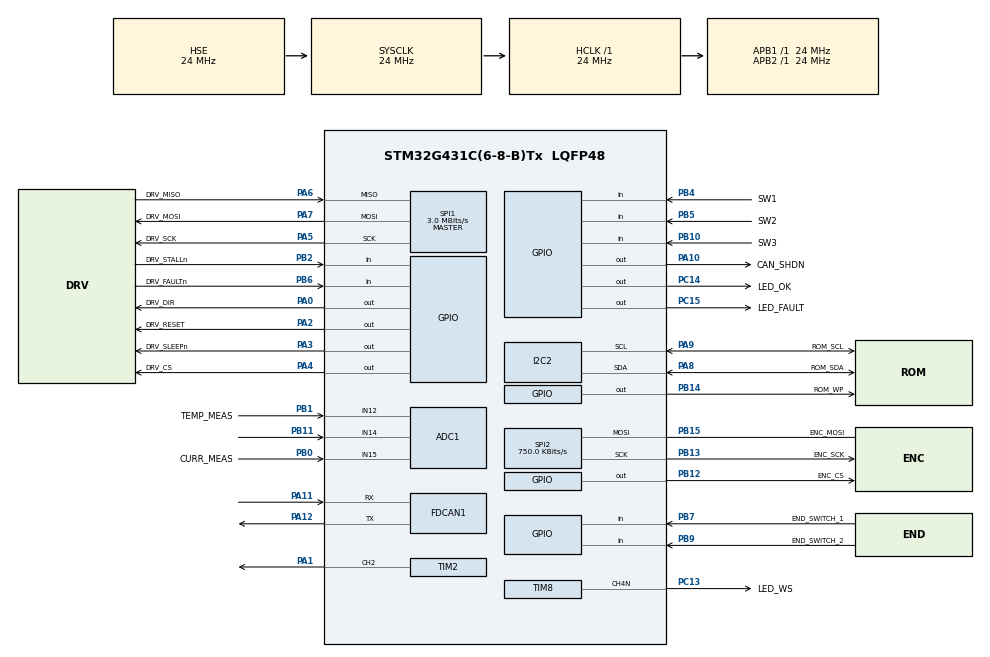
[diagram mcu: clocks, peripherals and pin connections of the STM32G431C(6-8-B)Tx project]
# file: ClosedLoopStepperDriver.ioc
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ADC1.Channel-0\#ChannelRegularConversion=ADC_CHANNEL_15
ADC1.ClockPrescaler=ADC_CLOCK_SYNC_PCLK_DIV4
ADC1.NbrOfConversionFlag=1
ADC1.OffsetNumber-0\#ChannelRegularConversion=ADC_OFFSET_NONE
ADC1.Rank-0\#ChannelRegularConversion=1
ADC1.SamplingTime-0\#ChannelRegularConversion=ADC_SAMPLETIME_2CYCLES_5
ADC1.master=1
Dma.Request0=TIM8_CH4
Dma.TIM8_CH4.0.Direction=DMA_MEMORY_TO_PERIPH
Dma.TIM8_CH4.0.EventEnable=DISABLE
Dma.TIM8_CH4.0.Instance=DMA1_Channel1
Dma.TIM8_CH4.0.MemDataAlignment=DMA_MDATAALIGN_BYTE
Dma.TIM8_CH4.0.MemInc=DMA_MINC_ENABLE
Dma.TIM8_CH4.0.Mode=DMA_NORMAL
Dma.TIM8_CH4.0.PeriphDataAlignment=DMA_PDATAALIGN_HALFWORD
Dma.TIM8_CH4.0.PeriphInc=DMA_PINC_DISABLE
Dma.TIM8_CH4.0.Polarity=HAL_DMAMUX_REQ_GEN_RISING
Dma.TIM8_CH4.0.Priority=DMA_PRIORITY_LOW
Dma.TIM8_CH4.0.RequestNumber=1
Dma.TIM8_CH4.0.SignalID=NONE
Dma.TIM8_CH4.0.SyncEnable=DISABLE
Dma.TIM8_CH4.0.SyncPolarity=HAL_DMAMUX_SYNC_NO_EVENT
Dma.TIM8_CH4.0.SyncRequestNumber=1
Dma.TIM8_CH4.0.SyncSignalID=NONE
FDCAN1.AutoRetransmission=ENABLE
FDCAN1.CalculateBaudRateNominal=500000
FDCAN1.CalculateTimeBitNominal=2000
FDCAN1.CalculateTimeQuantumNominal=41.666666666666664
FDCAN1.ClockDivider=FDCAN_CLOCK_DIV1
FDCAN1.DataSyncJumpWidth=1
FDCAN1.DataTimeSeg1=5
FDCAN1.DataTimeSeg2=4
FDCAN1.ExtFiltersNbr=1
FDCAN1.FrameFormat=FDCAN_FRAME_CLASSIC
FDCAN1.NominalPrescaler=1
FDCAN1.NominalSyncJumpWidth=12
FDCAN1.NominalTimeSeg1=35
FDCAN1.NominalTimeSeg2=12
FDCAN1.TransmitPause=ENABLE
FREERTOS.Tasks01=defaultTask,24,128,StartDefaultTask,Default,NULL,Dynamic,NULL,NULL;EncoderTask,40,128,StartEncoderTask,Default,NULL,Dynamic,NULL,NULL;StepperRegTask,16,128,StartStepperRegTask,Default,NULL,Dynamic,NULL,NULL;FeedbackTask,8,128,StartFeedbackTask,Default,NULL,Dynamic,NULL,NULL
FREERTOS.configUSE_NEWLIB_REENTRANT=1
I2C2.Timing=0x00805C87
Mcu.Family=STM32G4
Mcu.Name=STM32G431C(6-8-B)Tx
Mcu.Package=LQFP48
NVIC.DMA1_Channel1_IRQn=true\:5\:0\:false\:false\:true\:true\:false\:true\:true
NVIC.FDCAN1_IT0_IRQn=true\:5\:0\:false\:false\:true\:true\:true\:true\:true
NVIC.PriorityGroup=NVIC_PRIORITYGROUP_4
NVIC.TIM1_UP_TIM16_IRQn=true\:5\:0\:false\:false\:true\:false\:false\:true\:true
NVIC.TIM6_DAC_IRQn=true\:15\:0\:true\:false\:true\:true\:true\:true\:true
NVIC.TimeBase=TIM1_UP_TIM16_IRQn
NVIC.TimeBaseIP=TIM1
PA0.GPIO_Label=DRV_DIR
PA0.Signal=GPIO_Output
PA1.Signal=S_TIM2_CH2
PA10.GPIO_Label=CAN_SHDN
PA10.Signal=GPIO_Output
PA11.GPIO_Speed=GPIO_SPEED_FREQ_VERY_HIGH
PA11.Mode=FDCAN_Activate
PA11.Signal=FDCAN1_RX
PA12.GPIO_Speed=GPIO_SPEED_FREQ_VERY_HIGH
PA12.Mode=FDCAN_Activate
PA12.Signal=FDCAN1_TX
PA13.Mode=JTAG_4_pins
PA13.Signal=SYS_JTMS-SWDIO
PA14.Mode=JTAG_4_pins
PA14.Signal=SYS_JTCK-SWCLK
PA15.Mode=JTAG_4_pins
PA15.Signal=SYS_JTDI
PA2.GPIO_Label=DRV_RESET
PA2.Signal=GPIO_Output
PA3.GPIO_Label=DRV_SLEEPn
PA3.Signal=GPIO_Output
PA4.GPIO_Label=DRV_CS
PA4.Signal=GPIO_Output
PA5.GPIO_Label=DRV_SCK
PA5.Mode=Full_Duplex_Master
PA5.Signal=SPI1_SCK
PA6.GPIO_Label=DRV_MISO
PA6.Mode=Full_Duplex_Master
PA6.Signal=SPI1_MISO
PA7.GPIO_Label=DRV_MOSI
PA7.Mode=Full_Duplex_Master
PA7.Signal=SPI1_MOSI
PA8.GPIO_Label=ROM_SDA
PA8.GPIO_Pu=GPIO_PULLUP
PA8.Mode=I2C
PA8.Signal=I2C2_SDA
PA9.GPIO_Label=ROM_SCL
PA9.GPIO_Pu=GPIO_PULLUP
PA9.Mode=I2C
PA9.Signal=I2C2_SCL
PB0.GPIO_Label=CURR_MEAS
PB0.Mode=IN15-Single-Ended
PB0.Signal=ADC1_IN15
PB1.GPIO_Label=TEMP_MEAS
PB1.Mode=IN12-Single-Ended
PB1.Signal=ADC1_IN12
PB10.GPIO_Label=SW3
PB10.GPIO_PuPd=GPIO_PULLUP
PB10.Signal=GPIO_Input
PB11.Mode=IN14-Single-Ended
PB11.Signal=ADC1_IN14
PB12.GPIO_Label=ENC_CS
PB12.Signal=GPIO_Output
PB13.GPIO_Label=ENC_SCK
PB13.Mode=Simplex_Bidirectional_Master
PB13.Signal=SPI2_SCK
PB14.GPIO_Label=ROM_WP
PB14.GPIO_Speed=GPIO_SPEED_FREQ_MEDIUM
PB14.PinState=GPIO_PIN_SET
PB14.Signal=GPIO_Output
PB15.GPIO_Label=ENC_MOSI
PB15.Mode=Simplex_Bidirectional_Master
PB15.Signal=SPI2_MOSI
PB2.GPIO_Label=DRV_STALLn
PB2.Signal=GPIO_Input
PB3.Mode=JTAG_4_pins
PB3.Signal=SYS_JTDO-SWO
PB4.GPIO_Label=SW1
PB4.GPIO_PuPd=GPIO_PULLUP
PB4.Signal=GPIO_Input
PB5.GPIO_Label=SW2
PB5.GPIO_PuPd=GPIO_PULLUP
PB5.Signal=GPIO_Input
PB6.GPIO_Label=DRV_FAULTn
PB6.GPIO_PuPd=GPIO_NOPULL
PB6.Signal=GPIO_Input
PB7.GPIO_Label=END_SWITCH_1
PB7.GPIO_PuPd=GPIO_PULLUP
PB7.Signal=GPIO_Input
PB9.GPIO_Label=END_SWITCH_2
PB9.GPIO_PuPd=GPIO_PULLUP
PB9.Signal=GPIO_Input
PC13.GPIO_Label=LED_WS
PC13.Mode=PWM Generation4 CH4N
PC13.Signal=TIM8_CH4N
PC14-OSC32_IN.GPIO_Label=LED_OK
PC14-OSC32_IN.GPIO_ModeDefaultOutputPP=GPIO_MODE_OUTPUT_PP
PC14-OSC32_IN.GPIO_PuPd=GPIO_NOPULL
PC14-OSC32_IN.PinState=GPIO_PIN_SET
PC14-OSC32_IN.Signal=GPIO_Output
PC15-OSC32_OUT.GPIO_Label=LED_FAULT
PC15-OSC32_OUT.GPIO_ModeDefaultOutputPP=GPIO_MODE_OUTPUT_PP
PC15-OSC32_OUT.GPIO_PuPd=GPIO_NOPULL
PC15-OSC32_OUT.PinState=GPIO_PIN_SET
PC15-OSC32_OUT.Signal=GPIO_Output
PF0-OSC_IN.Mode=HSE-External-Oscillator
PF0-OSC_IN.Signal=RCC_OSC_IN
PF1-OSC_OUT.Mode=HSE-External-Oscillator
PF1-OSC_OUT.Signal=RCC_OSC_OUT
ProjectManager.HeapSize=0x200
ProjectManager.StackSize=0x400
ProjectManager.TargetToolchain=STM32CubeIDE
RCC.ADC12Freq_Value=24000000
RCC.AHBFreq_Value=24000000
RCC.APB1Freq_Value=24000000
RCC.APB1TimFreq_Value=24000000
RCC.APB2Freq_Value=24000000
RCC.APB2TimFreq_Value=24000000
RCC.CortexFreq_Value=24000000
RCC.EXTERNAL_CLOCK_VALUE=12288000
RCC.HCLKFreq_Value=24000000
RCC.HSE_VALUE=24000000
RCC.HSI48_VALUE=48000000
RCC.HSI_VALUE=16000000
RCC.LSE_VALUE=32768
RCC.PLLSourceVirtual=RCC_PLLSOURCE_HSE
RCC.SYSCLKFreq_VALUE=24000000
RCC.SYSCLKSource=RCC_SYSCLKSOURCE_HSE
RCC.USBFreq_Value=96000000
RCC.VCOOutputFreq_Value=192000000
SH.S_TIM2_CH2.0=TIM2_CH2,PWM Generation2 CH2
SPI1.BaudRatePrescaler=SPI_BAUDRATEPRESCALER_8
SPI1.CalculateBaudRate=3.0 MBits/s
SPI1.DataSize=SPI_DATASIZE_16BIT
SPI1.Direction=SPI_DIRECTION_2LINES
SPI1.Mode=SPI_MODE_MASTER
SPI1.VirtualType=VM_MASTER
SPI2.BaudRatePrescaler=SPI_BAUDRATEPRESCALER_32
SPI2.CLKPhase=SPI_PHASE_2EDGE
SPI2.CalculateBaudRate=750.0 KBits/s
SPI2.DataSize=SPI_DATASIZE_8BIT
SPI2.Direction=SPI_DIRECTION_1LINE
SPI2.Mode=SPI_MODE_MASTER
SPI2.VirtualType=VM_MASTER
TIM2.Channel-PWM\ Generation2\ CH2=TIM_CHANNEL_2
TIM2.PeriodNoDither=37048
TIM2.PulseNoDither_2=300
TIM6.PeriodNoDither=2399
TIM6.TIM_MasterOutputTrigger=TIM_TRGO_RESET
TIM8.Channel-PWM\ Generation4\ CH4N=TIM_CHANNEL_4
TIM8.PeriodNoDither=30
VP_FREERTOS_VS_CMSIS_V2.Mode=CMSIS_V2
VP_SYS_VS_DBSignals.Mode=DisableDeadBatterySignals
VP_SYS_VS_tim1.Mode=TIM1
VP_TIM2_VS_ClockSourceINT.Mode=Internal
VP_TIM6_VS_ClockSourceINT.Mode=Enable_Timer
VP_TIM8_VS_ClockSourceINT.Mode=Internal
board=custom

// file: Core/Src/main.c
/* USER CODE BEGIN Header */
/**
  ******************************************************************************
  * @file           : main.c
  * @brief          : Main program body
  ******************************************************************************
  * @attention
  *
  * Copyright (c) 2024 STMicroelectronics.
  * All rights reserved.
  *
  * This software is licensed under terms that can be found in the LICENSE file
  * in the root directory of this software component.
  * If no LICENSE file comes with this software, it is provided AS-IS.
  *
  ******************************************************************************
  */
/* USER CODE END Header */
#include "main.h"
#include "cmsis_os.h"

/* USER CODE BEGIN Includes */
#include "led.h"
#include "engine.h"
#include "logs.h"
DRV8711_LED_t* __LED;
DRV8711SPI_t* __ENGINE;
/* USER CODE END Includes */

ADC_HandleTypeDef hadc1;

FDCAN_HandleTypeDef hfdcan1;

I2C_HandleTypeDef hi2c2;

SPI_HandleTypeDef hspi1;
SPI_HandleTypeDef hspi2;

TIM_HandleTypeDef htim2;
TIM_HandleTypeDef htim6;
TIM_HandleTypeDef htim8;
DMA_HandleTypeDef hdma_tim8_ch4;

/* Definitions for defaultTask */
osThreadId_t defaultTaskHandle;
const osThreadAttr_t defaultTask_attributes = {
  .name = "defaultTask",
  .priority = (osPriority_t) osPriorityNormal,
  .stack_size = 128 * 4
};
/* Definitions for EncoderTask */
osThreadId_t EncoderTaskHandle;
const osThreadAttr_t EncoderTask_attributes = {
  .name = "EncoderTask",
  .priority = (osPriority_t) osPriorityHigh,
  .stack_size = 128 * 4
};
/* Definitions for StepperRegTask */
osThreadId_t StepperRegTaskHandle;
const osThreadAttr_t StepperRegTask_attributes = {
  .name = "StepperRegTask",
  .priority = (osPriority_t) osPriorityBelowNormal,
  .stack_size = 128 * 4
};
/* Definitions for FeedbackTask */
osThreadId_t FeedbackTaskHandle;
const osThreadAttr_t FeedbackTask_attributes = {
  .name = "FeedbackTask",
  .priority = (osPriority_t) osPriorityLow,
  .stack_size = 128 * 4
};

void SystemClock_Config(void);
static void MX_GPIO_Init(void);
static void MX_DMA_Init(void);
static void MX_FDCAN1_Init(void);
static void MX_I2C2_Init(void);
static void MX_SPI1_Init(void);
static void MX_SPI2_Init(void);
static void MX_TIM8_Init(void);
static void MX_ADC1_Init(void);
static void MX_TIM6_Init(void);
static void MX_TIM2_Init(void);
void StartDefaultTask(void *argument);
void StartEncoderTask(void *argument);
void StartStepperRegTask(void *argument);
void StartFeedbackTask(void *argument);

int main(void)
{

  /* USER CODE BEGIN 1 */
  printf("[STATUS]: Entering main\n");
  DRV8711_LED_t LED;
  DRV8711SPI_t ENGINE;
  __LED = &LED;
  __ENGINE = &ENGINE;

  LED.LED_FAULT = 1U;
  LED.LED_OK = 1U;
  LED.LED_WS = 0U;
  applyLed(&LED);
  //osDelay(1);
  LED.LED_FAULT = 0U;
  applyLed(&LED);
  HAL_TIM_Base_Init(&htim2);
  HAL_TIM_PWM_Start(&htim2, TIM_CHANNEL_2);
  /* USER CODE END 1 */

  /* MCU Configuration--------------------------------------------------------*/

  /* Reset of all peripherals, Initializes the Flash interface and the Systick. */
  HAL_Init();

  /* Configure the system clock */
  SystemClock_Config();

  /* Initialize all configured peripherals */
  MX_GPIO_Init();
  MX_DMA_Init();
  MX_FDCAN1_Init();
  MX_I2C2_Init();
  MX_SPI1_Init();
  MX_SPI2_Init();
  MX_TIM8_Init();
  MX_ADC1_Init();
  MX_TIM6_Init();
  MX_TIM2_Init();
  /* USER CODE BEGIN 2 */
  printf("[STATUS]: Scheduler init\n");
  /* USER CODE END 2 */

  /* Init scheduler */
  osKernelInitialize();

  /* Create the thread(s) */
  /* creation of defaultTask */
  defaultTaskHandle = osThreadNew(StartDefaultTask, NULL, &defaultTask_attributes);

  /* creation of EncoderTask */
  EncoderTaskHandle = osThreadNew(StartEncoderTask, NULL, &EncoderTask_attributes);

  /* creation of StepperRegTask */
  StepperRegTaskHandle = osThreadNew(StartStepperRegTask, NULL, &StepperRegTask_attributes);

  /* creation of FeedbackTask */
  FeedbackTaskHandle = osThreadNew(StartFeedbackTask, NULL, &FeedbackTask_attributes);

  /* Start scheduler */
  osKernelStart();

  /* We should never get here as control is now taken by the scheduler */

  /* Infinite loop */
  while (1)
  {

  }
}

void SystemClock_Config(void)
{
  RCC_OscInitTypeDef RCC_OscInitStruct = {0};
  RCC_ClkInitTypeDef RCC_ClkInitStruct = {0};

  /** Configure the main internal regulator output voltage
  */
  HAL_PWREx_ControlVoltageScaling(PWR_REGULATOR_VOLTAGE_SCALE1);

  /** Initializes the RCC Oscillators according to the specified parameters
  * in the RCC_OscInitTypeDef structure.
  */
  RCC_OscInitStruct.OscillatorType = RCC_OSCILLATORTYPE_HSE;
  RCC_OscInitStruct.HSEState = RCC_HSE_ON;
  RCC_OscInitStruct.PLL.PLLState = RCC_PLL_NONE;
  if (HAL_RCC_OscConfig(&RCC_OscInitStruct) != HAL_OK)
  {
    Error_Handler();
  }

  /** Initializes the CPU, AHB and APB buses clocks
  */
  RCC_ClkInitStruct.ClockType = RCC_CLOCKTYPE_HCLK|RCC_CLOCKTYPE_SYSCLK
                              |RCC_CLOCKTYPE_PCLK1|RCC_CLOCKTYPE_PCLK2;
  RCC_ClkInitStruct.SYSCLKSource = RCC_SYSCLKSOURCE_HSE;
  RCC_ClkInitStruct.AHBCLKDivider = RCC_SYSCLK_DIV1;
  RCC_ClkInitStruct.APB1CLKDivider = RCC_HCLK_DIV1;
  RCC_ClkInitStruct.APB2CLKDivider = RCC_HCLK_DIV1;

  if (HAL_RCC_ClockConfig(&RCC_ClkInitStruct, FLASH_LATENCY_0) != HAL_OK)
  {
    Error_Handler();
  }
}

static void MX_ADC1_Init(void)
{

  ADC_MultiModeTypeDef multimode = {0};
  ADC_ChannelConfTypeDef sConfig = {0};

  /** Common config
  */
  hadc1.Instance = ADC1;
  hadc1.Init.ClockPrescaler = ADC_CLOCK_SYNC_PCLK_DIV4;
  hadc1.Init.Resolution = ADC_RESOLUTION_12B;
  hadc1.Init.DataAlign = ADC_DATAALIGN_RIGHT;
  hadc1.Init.GainCompensation = 0;
  hadc1.Init.ScanConvMode = ADC_SCAN_DISABLE;
  hadc1.Init.EOCSelection = ADC_EOC_SINGLE_CONV;
  hadc1.Init.LowPowerAutoWait = DISABLE;
  hadc1.Init.ContinuousConvMode = DISABLE;
  hadc1.Init.NbrOfConversion = 1;
  hadc1.Init.DiscontinuousConvMode = DISABLE;
  hadc1.Init.ExternalTrigConv = ADC_SOFTWARE_START;
  hadc1.Init.ExternalTrigConvEdge = ADC_EXTERNALTRIGCONVEDGE_NONE;
  hadc1.Init.DMAContinuousRequests = DISABLE;
  hadc1.Init.Overrun = ADC_OVR_DATA_PRESERVED;
  hadc1.Init.OversamplingMode = DISABLE;
  if (HAL_ADC_Init(&hadc1) != HAL_OK)
  {
    Error_Handler();
  }

  /** Configure the ADC multi-mode
  */
  multimode.Mode = ADC_MODE_INDEPENDENT;
  if (HAL_ADCEx_MultiModeConfigChannel(&hadc1, &multimode) != HAL_OK)
  {
    Error_Handler();
  }

  /** Configure Regular Channel
  */
  sConfig.Channel = ADC_CHANNEL_15;
  sConfig.Rank = ADC_REGULAR_RANK_1;
  sConfig.SamplingTime = ADC_SAMPLETIME_2CYCLES_5;
  sConfig.SingleDiff = ADC_SINGLE_ENDED;
  sConfig.OffsetNumber = ADC_OFFSET_NONE;
  sConfig.Offset = 0;
  if (HAL_ADC_ConfigChannel(&hadc1, &sConfig) != HAL_OK)
  {
    Error_Handler();
  }

}

static void MX_FDCAN1_Init(void)
{

  hfdcan1.Instance = FDCAN1;
  hfdcan1.Init.ClockDivider = FDCAN_CLOCK_DIV1;
  hfdcan1.Init.FrameFormat = FDCAN_FRAME_CLASSIC;
  hfdcan1.Init.Mode = FDCAN_MODE_NORMAL;
  hfdcan1.Init.AutoRetransmission = ENABLE;
  hfdcan1.Init.TransmitPause = ENABLE;
  hfdcan1.Init.ProtocolException = DISABLE;
  hfdcan1.Init.NominalPrescaler = 1;
  hfdcan1.Init.NominalSyncJumpWidth = 12;
  hfdcan1.Init.NominalTimeSeg1 = 35;
  hfdcan1.Init.NominalTimeSeg2 = 12;
  hfdcan1.Init.DataPrescaler = 1;
  hfdcan1.Init.DataSyncJumpWidth = 1;
  hfdcan1.Init.DataTimeSeg1 = 5;
  hfdcan1.Init.DataTimeSeg2 = 4;
  hfdcan1.Init.StdFiltersNbr = 0;
  hfdcan1.Init.ExtFiltersNbr = 1;
  hfdcan1.Init.TxFifoQueueMode = FDCAN_TX_FIFO_OPERATION;
  if (HAL_FDCAN_Init(&hfdcan1) != HAL_OK)
  {
    Error_Handler();
  }

}

static void MX_I2C2_Init(void)
{

  hi2c2.Instance = I2C2;
  hi2c2.Init.Timing = 0x00805C87;
  hi2c2.Init.OwnAddress1 = 0;
  hi2c2.Init.AddressingMode = I2C_ADDRESSINGMODE_7BIT;
  hi2c2.Init.DualAddressMode = I2C_DUALADDRESS_DISABLE;
  hi2c2.Init.OwnAddress2 = 0;
  hi2c2.Init.OwnAddress2Masks = I2C_OA2_NOMASK;
  hi2c2.Init.GeneralCallMode = I2C_GENERALCALL_DISABLE;
  hi2c2.Init.NoStretchMode = I2C_NOSTRETCH_DISABLE;
  if (HAL_I2C_Init(&hi2c2) != HAL_OK)
  {
    Error_Handler();
  }

  /** Configure Analogue filter
  */
  if (HAL_I2CEx_ConfigAnalogFilter(&hi2c2, I2C_ANALOGFILTER_ENABLE) != HAL_OK)
  {
    Error_Handler();
  }

  /** Configure Digital filter
  */
  if (HAL_I2CEx_ConfigDigitalFilter(&hi2c2, 0) != HAL_OK)
  {
    Error_Handler();
  }

}

static void MX_SPI1_Init(void)
{

  /* SPI1 parameter configuration*/
  hspi1.Instance = SPI1;
  hspi1.Init.Mode = SPI_MODE_MASTER;
  hspi1.Init.Direction = SPI_DIRECTION_2LINES;
  hspi1.Init.DataSize = SPI_DATASIZE_16BIT;
  hspi1.Init.CLKPolarity = SPI_POLARITY_LOW;
  hspi1.Init.CLKPhase = SPI_PHASE_1EDGE;
  hspi1.Init.NSS = SPI_NSS_SOFT;
  hspi1.Init.BaudRatePrescaler = SPI_BAUDRATEPRESCALER_8;
  hspi1.Init.FirstBit = SPI_FIRSTBIT_MSB;
  hspi1.Init.TIMode = SPI_TIMODE_DISABLE;
  hspi1.Init.CRCCalculation = SPI_CRCCALCULATION_DISABLE;
  hspi1.Init.CRCPolynomial = 7;
  hspi1.Init.CRCLength = SPI_CRC_LENGTH_DATASIZE;
  hspi1.Init.NSSPMode = SPI_NSS_PULSE_ENABLE;
  if (HAL_SPI_Init(&hspi1) != HAL_OK)
  {
    Error_Handler();
  }

}

static void MX_SPI2_Init(void)
{

  /* SPI2 parameter configuration*/
  hspi2.Instance = SPI2;
  hspi2.Init.Mode = SPI_MODE_MASTER;
  hspi2.Init.Direction = SPI_DIRECTION_1LINE;
  hspi2.Init.DataSize = SPI_DATASIZE_8BIT;
  hspi2.Init.CLKPolarity = SPI_POLARITY_LOW;
  hspi2.Init.CLKPhase = SPI_PHASE_2EDGE;
  hspi2.Init.NSS = SPI_NSS_SOFT;
  hspi2.Init.BaudRatePrescaler = SPI_BAUDRATEPRESCALER_32;
  hspi2.Init.FirstBit = SPI_FIRSTBIT_MSB;
  hspi2.Init.TIMode = SPI_TIMODE_DISABLE;
  hspi2.Init.CRCCalculation = SPI_CRCCALCULATION_DISABLE;
  hspi2.Init.CRCPolynomial = 7;
  hspi2.Init.CRCLength = SPI_CRC_LENGTH_DATASIZE;
  hspi2.Init.NSSPMode = SPI_NSS_PULSE_DISABLE;
  if (HAL_SPI_Init(&hspi2) != HAL_OK)
  {
    Error_Handler();
  }

}

static void MX_TIM2_Init(void)
{

  TIM_ClockConfigTypeDef sClockSourceConfig = {0};
  TIM_MasterConfigTypeDef sMasterConfig = {0};
  TIM_OC_InitTypeDef sConfigOC = {0};

  htim2.Instance = TIM2;
  htim2.Init.Prescaler = 0;
  htim2.Init.CounterMode = TIM_COUNTERMODE_UP;
  htim2.Init.Period = 37048;
  htim2.Init.ClockDivision = TIM_CLOCKDIVISION_DIV1;
  htim2.Init.AutoReloadPreload = TIM_AUTORELOAD_PRELOAD_DISABLE;
  if (HAL_TIM_Base_Init(&htim2) != HAL_OK)
  {
    Error_Handler();
  }
  sClockSourceConfig.ClockSource = TIM_CLOCKSOURCE_INTERNAL;
  if (HAL_TIM_ConfigClockSource(&htim2, &sClockSourceConfig) != HAL_OK)
  {
    Error_Handler();
  }
  if (HAL_TIM_PWM_Init(&htim2) != HAL_OK)
  {
    Error_Handler();
  }
  sMasterConfig.MasterOutputTrigger = TIM_TRGO_RESET;
  sMasterConfig.MasterSlaveMode = TIM_MASTERSLAVEMODE_DISABLE;
  if (HAL_TIMEx_MasterConfigSynchronization(&htim2, &sMasterConfig) != HAL_OK)
  {
    Error_Handler();
  }
  sConfigOC.OCMode = TIM_OCMODE_PWM1;
  sConfigOC.Pulse = 300;
  sConfigOC.OCPolarity = TIM_OCPOLARITY_HIGH;
  sConfigOC.OCFastMode = TIM_OCFAST_DISABLE;
  if (HAL_TIM_PWM_ConfigChannel(&htim2, &sConfigOC, TIM_CHANNEL_2) != HAL_OK)
  {
    Error_Handler();
  }
  HAL_TIM_MspPostInit(&htim2);

}

static void MX_TIM6_Init(void)
{

  TIM_MasterConfigTypeDef sMasterConfig = {0};

  htim6.Instance = TIM6;
  htim6.Init.Prescaler = 0;
  htim6.Init.CounterMode = TIM_COUNTERMODE_UP;
  htim6.Init.Period = 2399;
  htim6.Init.AutoReloadPreload = TIM_AUTORELOAD_PRELOAD_DISABLE;
  if (HAL_TIM_Base_Init(&htim6) != HAL_OK)
  {
    Error_Handler();
  }
  sMasterConfig.MasterOutputTrigger = TIM_TRGO_RESET;
  sMasterConfig.MasterSlaveMode = TIM_MASTERSLAVEMODE_DISABLE;
  if (HAL_TIMEx_MasterConfigSynchronization(&htim6, &sMasterConfig) != HAL_OK)
  {
    Error_Handler();
  }

}

static void MX_TIM8_Init(void)
{

  TIM_ClockConfigTypeDef sClockSourceConfig = {0};
  TIM_MasterConfigTypeDef sMasterConfig = {0};
  TIM_OC_InitTypeDef sConfigOC = {0};
  TIM_BreakDeadTimeConfigTypeDef sBreakDeadTimeConfig = {0};

  htim8.Instance = TIM8;
  htim8.Init.Prescaler = 0;
  htim8.Init.CounterMode = TIM_COUNTERMODE_UP;
  htim8.Init.Period = 30;
  htim8.Init.ClockDivision = TIM_CLOCKDIVISION_DIV1;
  htim8.Init.RepetitionCounter = 0;
  htim8.Init.AutoReloadPreload = TIM_AUTORELOAD_PRELOAD_DISABLE;
  if (HAL_TIM_Base_Init(&htim8) != HAL_OK)
  {
    Error_Handler();
  }
  sClockSourceConfig.ClockSource = TIM_CLOCKSOURCE_INTERNAL;
  if (HAL_TIM_ConfigClockSource(&htim8, &sClockSourceConfig) != HAL_OK)
  {
    Error_Handler();
  }
  if (HAL_TIM_PWM_Init(&htim8) != HAL_OK)
  {
    Error_Handler();
  }
  sMasterConfig.MasterOutputTrigger = TIM_TRGO_RESET;
  sMasterConfig.MasterOutputTrigger2 = TIM_TRGO2_RESET;
  sMasterConfig.MasterSlaveMode = TIM_MASTERSLAVEMODE_DISABLE;
  if (HAL_TIMEx_MasterConfigSynchronization(&htim8, &sMasterConfig) != HAL_OK)
  {
    Error_Handler();
  }
  sConfigOC.OCMode = TIM_OCMODE_PWM1;
  sConfigOC.Pulse = 0;
  sConfigOC.OCPolarity = TIM_OCPOLARITY_HIGH;
  sConfigOC.OCNPolarity = TIM_OCNPOLARITY_HIGH;
  sConfigOC.OCFastMode = TIM_OCFAST_DISABLE;
  sConfigOC.OCIdleState = TIM_OCIDLESTATE_RESET;
  sConfigOC.OCNIdleState = TIM_OCNIDLESTATE_RESET;
  if (HAL_TIM_PWM_ConfigChannel(&htim8, &sConfigOC, TIM_CHANNEL_4) != HAL_OK)
  {
    Error_Handler();
  }
  sBreakDeadTimeConfig.OffStateRunMode = TIM_OSSR_DISABLE;
  sBreakDeadTimeConfig.OffStateIDLEMode = TIM_OSSI_DISABLE;
  sBreakDeadTimeConfig.LockLevel = TIM_LOCKLEVEL_OFF;
  sBreakDeadTimeConfig.DeadTime = 0;
  sBreakDeadTimeConfig.BreakState = TIM_BREAK_DISABLE;
  sBreakDeadTimeConfig.BreakPolarity = TIM_BREAKPOLARITY_HIGH;
  sBreakDeadTimeConfig.BreakFilter = 0;
  sBreakDeadTimeConfig.BreakAFMode = TIM_BREAK_AFMODE_INPUT;
  sBreakDeadTimeConfig.Break2State = TIM_BREAK2_DISABLE;
  sBreakDeadTimeConfig.Break2Polarity = TIM_BREAK2POLARITY_HIGH;
  sBreakDeadTimeConfig.Break2Filter = 0;
  sBreakDeadTimeConfig.Break2AFMode = TIM_BREAK_AFMODE_INPUT;
  sBreakDeadTimeConfig.AutomaticOutput = TIM_AUTOMATICOUTPUT_DISABLE;
  if (HAL_TIMEx_ConfigBreakDeadTime(&htim8, &sBreakDeadTimeConfig) != HAL_OK)
  {
    Error_Handler();
  }
  HAL_TIM_MspPostInit(&htim8);

}

static void MX_DMA_Init(void)
{

  /* DMA controller clock enable */
  __HAL_RCC_DMAMUX1_CLK_ENABLE();
  __HAL_RCC_DMA1_CLK_ENABLE();

  /* DMA interrupt init */
  /* DMA1_Channel1_IRQn interrupt configuration */
  HAL_NVIC_SetPriority(DMA1_Channel1_IRQn, 5, 0);
  HAL_NVIC_EnableIRQ(DMA1_Channel1_IRQn);

}

static void MX_GPIO_Init(void)
{
  GPIO_InitTypeDef GPIO_InitStruct = {0};

  /* GPIO Ports Clock Enable */
  __HAL_RCC_GPIOC_CLK_ENABLE();
  __HAL_RCC_GPIOF_CLK_ENABLE();
  __HAL_RCC_GPIOA_CLK_ENABLE();
  __HAL_RCC_GPIOB_CLK_ENABLE();

  /*Configure GPIO pin Output Level */
  HAL_GPIO_WritePin(GPIOC, LED_OK_Pin|LED_FAULT_Pin, GPIO_PIN_SET);

  /*Configure GPIO pin Output Level */
  HAL_GPIO_WritePin(GPIOA, DRV_DIR_Pin|DRV_RESET_Pin|DRV_SLEEPn_Pin|DRV_CS_Pin
                          |CAN_SHDN_Pin, GPIO_PIN_RESET);

  /*Configure GPIO pin Output Level */
  HAL_GPIO_WritePin(ENC_CS_GPIO_Port, ENC_CS_Pin, GPIO_PIN_RESET);

  /*Configure GPIO pin Output Level */
  HAL_GPIO_WritePin(ROM_WP_GPIO_Port, ROM_WP_Pin, GPIO_PIN_SET);

  /*Configure GPIO pins : LED_OK_Pin LED_FAULT_Pin */
  GPIO_InitStruct.Pin = LED_OK_Pin|LED_FAULT_Pin;
  GPIO_InitStruct.Mode = GPIO_MODE_OUTPUT_PP;
  GPIO_InitStruct.Pull = GPIO_NOPULL;
  GPIO_InitStruct.Speed = GPIO_SPEED_FREQ_LOW;
  HAL_GPIO_Init(GPIOC, &GPIO_InitStruct);

  /*Configure GPIO pins : DRV_DIR_Pin DRV_RESET_Pin DRV_SLEEPn_Pin DRV_CS_Pin
                           CAN_SHDN_Pin */
  GPIO_InitStruct.Pin = DRV_DIR_Pin|DRV_RESET_Pin|DRV_SLEEPn_Pin|DRV_CS_Pin
                          |CAN_SHDN_Pin;
  GPIO_InitStruct.Mode = GPIO_MODE_OUTPUT_PP;
  GPIO_InitStruct.Pull = GPIO_NOPULL;
  GPIO_InitStruct.Speed = GPIO_SPEED_FREQ_LOW;
  HAL_GPIO_Init(GPIOA, &GPIO_InitStruct);

  /*Configure GPIO pins : DRV_STALLn_Pin DRV_FAULTn_Pin */
  GPIO_InitStruct.Pin = DRV_STALLn_Pin|DRV_FAULTn_Pin;
  GPIO_InitStruct.Mode = GPIO_MODE_INPUT;
  GPIO_InitStruct.Pull = GPIO_NOPULL;
  HAL_GPIO_Init(GPIOB, &GPIO_InitStruct);

  /*Configure GPIO pins : SW3_Pin SW1_Pin SW2_Pin END_SWITCH_1_Pin
                           END_SWITCH_2_Pin */
  GPIO_InitStruct.Pin = SW3_Pin|SW1_Pin|SW2_Pin|END_SWITCH_1_Pin
                          |END_SWITCH_2_Pin;
  GPIO_InitStruct.Mode = GPIO_MODE_INPUT;
  GPIO_InitStruct.Pull = GPIO_PULLUP;
  HAL_GPIO_Init(GPIOB, &GPIO_InitStruct);

  /*Configure GPIO pin : ENC_CS_Pin */
  GPIO_InitStruct.Pin = ENC_CS_Pin;
  GPIO_InitStruct.Mode = GPIO_MODE_OUTPUT_PP;
  GPIO_InitStruct.Pull = GPIO_NOPULL;
  GPIO_InitStruct.Speed = GPIO_SPEED_FREQ_LOW;
  HAL_GPIO_Init(ENC_CS_GPIO_Port, &GPIO_InitStruct);

  /*Configure GPIO pin : ROM_WP_Pin */
  GPIO_InitStruct.Pin = ROM_WP_Pin;
  GPIO_InitStruct.Mode = GPIO_MODE_OUTPUT_PP;
  GPIO_InitStruct.Pull = GPIO_NOPULL;
  GPIO_InitStruct.Speed = GPIO_SPEED_FREQ_MEDIUM;
  HAL_GPIO_Init(ROM_WP_GPIO_Port, &GPIO_InitStruct);

}

void StartDefaultTask(void *argument)
{

  /* USER CODE BEGIN 5 */
  printf("[STATUS]: DefaultTask INIT\n");
  /* Infinite loop */
  for(;;)
  {
    osDelay(1);
  }
  /* USER CODE END 5 */
}

void StartEncoderTask(void *argument)
{

  /* USER CODE BEGIN StartEncoderTask */
  printf("[STATUS]: EncoderTask init\n");
  /* Infinite loop */
  for(;;)
  {
    osDelay(1);
  }
  /* USER CODE END StartEncoderTask */
}

void StartStepperRegTask(void *argument)
{
  /* USER CODE BEGIN StartStepperRegTask */
  printf("[STATUS]: StepperRegTask init\n");
  __ENGINE->hspi1 = &hspi1;
  DRV8711_init(__ENGINE);
  DRV8711SPI_setChipSelectPin(__ENGINE, GPIOA, GPIO_PIN_4);
  resetSettings(__ENGINE);
  //setCurrentMilliamps36v4(__ENGINE, idk);
  enableDriver(__ENGINE);
  setStepMode(__ENGINE, MicroStep16);
  //clearFaults(__ENGINE);
  //clearStatus(__ENGINE);
  setDirection(__ENGINE, 1U);

  /* Infinite loop */
  for(;;)
  {
    osDelay(500); // wait 500ms
    setStepMode(__ENGINE, MicroStep32);
    osDelay(500); // wait 500ms
    setStepMode(__ENGINE, MicroStep64);
    setDirection(__ENGINE, __ENGINE->ctrl ^ 1U); // toggle direction
    osDelay(500); // wait 500ms
    setStepMode(__ENGINE, MicroStep32);
    osDelay(500); // wait 500ms
    setStepMode(__ENGINE, MicroStep16);
  }
  /* USER CODE END StartStepperRegTask */
}

void StartFeedbackTask(void *argument)
{
  /* USER CODE BEGIN StartFeedbackTask */
  printf("[STATUS]: FeedbackTask init\n");
  /* Infinite loop */
  __LED->LED_WS = 1U;
  applyLed(__LED);
  for(;;)
  {
    osDelay(1);
  }
  /* USER CODE END StartFeedbackTask */
}

void HAL_TIM_PeriodElapsedCallback(TIM_HandleTypeDef *htim)
{
  /* USER CODE BEGIN Callback 0 */
  printf("[STATUS]: PeriodElapsedTask init\n");
  /* USER CODE END Callback 0 */
  if (htim->Instance == TIM1) {
    HAL_IncTick();
  }
}

void Error_Handler(void)
{
  /* USER CODE BEGIN Error_Handler_Debug */
  printf("[STATUS]: ErrorHandler\n");
  /* User can add his own implementation to report the HAL error return state */
  __disable_irq();
  __LED->LED_FAULT = 1U;
  applyLed(__LED);
  uint8_t engineFaults = readFaults(__ENGINE);
  uint8_t engineStatus = readStatus(__ENGINE);
  // printf engineFaults...
  while (1)
  {
    // sample handling
    // switch(engineFaults)
    // case...
    // clearFaults(__ENGINE);
    // clearStatus(__ENGINE);
    // clearStatus(__ENGINE);
    // resetSettings(__ENGINE);
    // likely goto __MAIN or sth
  }
  /* USER CODE END Error_Handler_Debug */
}

#ifdef  USE_FULL_ASSERT
/**
  * @brief  Reports the name of the source file and the source line number
  *         where the assert_param error has occurred.
  * @param  file: pointer to the source file name
  * @param  line: assert_param error line source number
  * @retval None
  */
void assert_failed(uint8_t *file, uint32_t line)
{
  /* USER CODE BEGIN 6 */
  /* User can add his own implementation to report the file name and line number,
     ex: printf("Wrong parameters value: file %s on line %d\r\n", file, line) */
    printf("Assertion failed. Wrong parameters value: file %s on line %d\r\n", file, line)
  /* USER CODE END 6 */
}
#endif /* USE_FULL_ASSERT */
